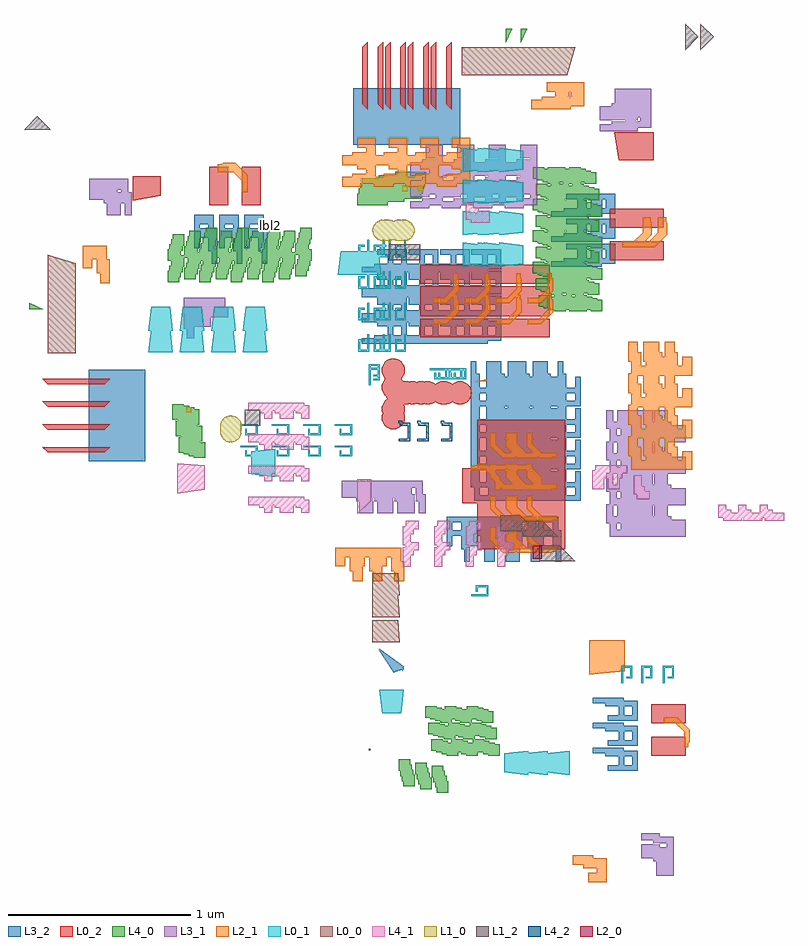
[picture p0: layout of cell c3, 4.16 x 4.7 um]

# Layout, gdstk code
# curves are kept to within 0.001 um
from math import pi, radians
import gdstk
lib = gdstk.Library(unit=1e-6, precision=5e-10)
def R(c, l, rs):  # rectangles x0, y0, x1, y1
    for r in rs: c.add(gdstk.rectangle(r[:2], r[2:], *l))
def A(c, l, x, y, w, h, nx, ny, dx, dy):  # array of equal rectangles
    R(c, l, [(x+i*dx, y+j*dy, x+i*dx+w, y+j*dy+h) for i in range(nx) for j in range(ny)])
def P(c, l, *ps):  # polygons
    for p in ps: c.add(gdstk.Polygon(p, *l))
L0_0 = (0, 0)
L0_1 = (0, 1)
L0_2 = (0, 2)
L1_0 = (1, 0)
L1_2 = (1, 2)
L2_0 = (2, 0)
L2_1 = (2, 1)
L3_1 = (3, 1)
L3_2 = (3, 2)
L4_0 = (4, 0)
L4_1 = (4, 1)
L4_2 = (4, 2)

c_c0 = lib.new_cell('c0')
P(c_c0, L0_1, [(0.693,-0.0655),(0.828,-0.0655),(0.8105,-0.1965),(0.707,-0.1965)])
R(c_c0, L0_2, [(-0.853,-0.427,-0.6625,-0.3245), (-0.853,-0.249,-0.6625,-0.1465)])
R(c_c0, L4_0, [(0.449,-0.6295,0.512,-0.5665), (0.54,-0.6125,0.603,-0.5495), (0.458,-0.6015,0.521,-0.5385), (0.631,-0.5955,0.694,-0.5325), (0.549,-0.5845,0.612,-0.5215), (0.467,-0.5735,0.53,-0.5105), (0.64,-0.5675,0.703,-0.5045), (0.558,-0.5565,0.621,-0.4935), (0.476,-0.5455,0.539,-0.4825), (0.649,-0.5395,0.712,-0.4765), (0.567,-0.5285,0.63,-0.4655), (0.658,-0.5115,0.721,-0.4485)])
c_c0.add(gdstk.FlexPath([(-0.865,-0.3655),(-0.858,-0.3655),(-0.858,-0.2905),(-0.7995,-0.232),(-0.748,-0.232)], 0.03, ends=(0.0015, 0.015), simple_path=True, layer=2, datatype=1))  # L2_1
c_c0.add(gdstk.FlexPath([(-0.6535,0.9985),(-0.6055,0.9985),(-0.6055,1.0265),(-0.5895,1.0265),(-0.5895,1.094)], 0.044, ends=(0.0015, 0.015), simple_path=True, layer=4, datatype=1))  # L4_1
c_c0.add(gdstk.FlexPath([(0.292,0.471),(0.292,0.5005),(0.234,0.5005),(0.234,0.451),(0.3235,0.451)], 0.01, ends="flush", simple_path=True, layer=0, datatype=1))  # L0_1
c_c0.add(gdstk.FlexPath([(-0.2345,-0.999),(-0.318,-0.999),(-0.318,-1.016),(-0.3925,-1.016),(-0.3925,-1.095),(-0.3425,-1.095)], 0.054, ends=(0, 0.025), simple_path=True, layer=2, datatype=1))  # L2_1
c_c0.add(gdstk.FlexPath([(-0.415,-0.4),(-0.4985,-0.4),(-0.4985,-0.417),(-0.573,-0.417),(-0.573,-0.496),(-0.523,-0.496)], 0.03, ends=(0, 0.025), simple_path=True, layer=3, datatype=2))  # L3_2
c_c0.add(gdstk.FlexPath([(-0.3425,-0.4),(-0.426,-0.4),(-0.426,-0.417),(-0.5005,-0.417),(-0.5005,-0.496),(-0.4505,-0.496)], 0.03, ends=(0, 0.025), simple_path=True, layer=3, datatype=2))  # L3_2
c_c0.add(gdstk.FlexPath([(-0.415,-0.263),(-0.4985,-0.263),(-0.4985,-0.28),(-0.573,-0.28),(-0.573,-0.359),(-0.523,-0.359)], 0.03, ends=(0, 0.025), simple_path=True, layer=3, datatype=2))  # L3_2
c_c0.add(gdstk.FlexPath([(-0.3425,-0.263),(-0.426,-0.263),(-0.426,-0.28),(-0.5005,-0.28),(-0.5005,-0.359),(-0.4505,-0.359)], 0.03, ends=(0, 0.025), simple_path=True, layer=3, datatype=2))  # L3_2
c_c0.add(gdstk.FlexPath([(-0.415,-0.126),(-0.4985,-0.126),(-0.4985,-0.143),(-0.573,-0.143),(-0.573,-0.222),(-0.523,-0.222)], 0.03, ends=(0, 0.025), simple_path=True, layer=3, datatype=2))  # L3_2
c_c0.add(gdstk.FlexPath([(-0.3425,-0.126),(-0.426,-0.126),(-0.426,-0.143),(-0.5005,-0.143),(-0.5005,-0.222),(-0.4505,-0.222)], 0.03, ends=(0, 0.025), simple_path=True, layer=3, datatype=2))  # L3_2
c_c0.add(gdstk.FlexPath([(-0.6085,-0.9705),(-0.692,-0.9705),(-0.692,-0.9875),(-0.7665,-0.9875),(-0.7665,-1.0665),(-0.7165,-1.0665)], 0.038, ends=(0, 0.025), simple_path=True, layer=3, datatype=1))  # L3_1
c_c0.add(gdstk.FlexPath([(-0.6085,-0.9325),(-0.692,-0.9325),(-0.692,-0.9495),(-0.7665,-0.9495),(-0.7665,-1.0285),(-0.7165,-1.0285)], 0.038, ends=(0, 0.025), simple_path=True, layer=3, datatype=1))  # L3_1
c_c0.add(gdstk.FlexPath([(-0.6085,-0.8725),(-0.692,-0.8725),(-0.692,-0.8895),(-0.7665,-0.8895),(-0.7665,-0.9685),(-0.7165,-0.9685)], 0.038, ends=(0, 0.025), simple_path=True, layer=3, datatype=1))  # L3_1
c_c0.add(gdstk.Label('lbl1', (0.9165,-0.702), layer=3, texttype=0))
c_c0.add(gdstk.Label('lbl2', (0.88,-0.6965), layer=4, texttype=1))
c_c0.add(gdstk.Label('lbl1', (0.7815,0.7755), layer=2, texttype=0))
c_c0.add(gdstk.Label('lbl1', (0.7815,0.9115), layer=2, texttype=0))
c_c0.add(gdstk.Label('lbl1', (0.7815,0.9545), layer=2, texttype=0))
c_c0.add(gdstk.Label('lbl1', (0.7815,1.0055), layer=2, texttype=0))
c_c0.add(gdstk.Label('lbl1', (0.9675,-0.092), layer=0, texttype=0))
c_c0.add(gdstk.Label('lbl0', (-0.414,0.3275), layer=3, texttype=2))
c_c0.add(gdstk.Label('lbl0', (-0.414,0.5055), layer=3, texttype=2))
c_c0.add(gdstk.Label('lbl2', (-0.401,0.445), layer=0, texttype=2))
c_c0.add(gdstk.Label('lbl2', (-0.401,0.623), layer=0, texttype=2))

c_c1 = lib.new_cell('c1')
P(c_c1, L0_0, [(0.8075,-0.235),(0.8075,-0.082),(0.961,-0.037),(0.961,-0.235)],
  [(0.8075,-0.1215),(0.8075,0.0315),(0.961,0.0765),(0.961,-0.1215)],
  [(0.8075,-0.008),(0.8075,0.145),(0.961,0.19),(0.961,-0.008)],
  [(0.8075,0.1055),(0.8075,0.2585),(0.961,0.3035),(0.961,0.1055)])
P(c_c1, L0_2, [(-0.8675,-0.5885),(-0.8685,-0.576),(-0.8725,-0.564),(-0.886,-0.543),(-0.907,-0.5295),(-0.919,-0.5255),(-0.9315,-0.5245),(-0.944,-0.5255),(-0.956,-0.5295),(-0.977,-0.543),(-0.9905,-0.564),(-0.9945,-0.576),(-0.9955,-0.5885),(-0.9945,-0.601),(-0.9905,-0.613),(-0.977,-0.634),(-0.956,-0.6475),(-0.944,-0.6515),(-0.9315,-0.6525),(-0.919,-0.6515),(-0.907,-0.6475),(-0.886,-0.634),(-0.8725,-0.613),(-0.8685,-0.601)],
  [(-0.8675,-0.541),(-0.8685,-0.5285),(-0.8725,-0.5165),(-0.886,-0.4955),(-0.907,-0.482),(-0.919,-0.478),(-0.9315,-0.477),(-0.944,-0.478),(-0.956,-0.482),(-0.977,-0.4955),(-0.9905,-0.5165),(-0.9945,-0.5285),(-0.9955,-0.541),(-0.9945,-0.5535),(-0.9905,-0.5655),(-0.977,-0.5865),(-0.956,-0.6),(-0.944,-0.604),(-0.9315,-0.605),(-0.919,-0.604),(-0.907,-0.6),(-0.886,-0.5865),(-0.8725,-0.5655),(-0.8685,-0.5535)],
  [(-0.8675,-0.421),(-0.8685,-0.4085),(-0.8725,-0.3965),(-0.886,-0.3755),(-0.907,-0.362),(-0.919,-0.358),(-0.9315,-0.357),(-0.944,-0.358),(-0.956,-0.362),(-0.977,-0.3755),(-0.9905,-0.3965),(-0.9945,-0.4085),(-0.9955,-0.421),(-0.9945,-0.4335),(-0.9905,-0.4455),(-0.977,-0.4665),(-0.956,-0.48),(-0.944,-0.484),(-0.9315,-0.485),(-0.919,-0.484),(-0.907,-0.48),(-0.886,-0.4665),(-0.8725,-0.4455),(-0.8685,-0.4335)],
  [(-0.8675,-0.328),(-0.8685,-0.3155),(-0.8725,-0.3035),(-0.886,-0.2825),(-0.907,-0.269),(-0.919,-0.265),(-0.9315,-0.264),(-0.944,-0.265),(-0.956,-0.269),(-0.977,-0.2825),(-0.9905,-0.3035),(-0.9945,-0.3155),(-0.9955,-0.328),(-0.9945,-0.3405),(-0.9905,-0.3525),(-0.977,-0.3735),(-0.956,-0.387),(-0.944,-0.391),(-0.9315,-0.392),(-0.919,-0.391),(-0.907,-0.387),(-0.886,-0.3735),(-0.8725,-0.3525),(-0.8685,-0.3405)],
  [(0.649,-0.779),(0.6195,-0.7495),(0.8075,-0.7495),(0.778,-0.779)],
  [(0.741,-0.779),(0.7115,-0.7495),(0.8995,-0.7495),(0.87,-0.779)],
  [(0.833,-0.779),(0.8035,-0.7495),(0.9915,-0.7495),(0.962,-0.779)],
  [(0.649,-0.654),(0.6195,-0.6245),(0.8075,-0.6245),(0.778,-0.654)],
  [(0.741,-0.654),(0.7115,-0.6245),(0.8995,-0.6245),(0.87,-0.654)],
  [(0.833,-0.654),(0.8035,-0.6245),(0.9915,-0.6245),(0.962,-0.654)],
  [(0.649,-0.529),(0.6195,-0.4995),(0.8075,-0.4995),(0.778,-0.529)],
  [(0.741,-0.529),(0.7115,-0.4995),(0.8995,-0.4995),(0.87,-0.529)],
  [(0.833,-0.529),(0.8035,-0.4995),(0.9915,-0.4995),(0.962,-0.529)],
  [(0.649,-0.404),(0.6195,-0.3745),(0.8075,-0.3745),(0.778,-0.404)],
  [(0.741,-0.404),(0.7115,-0.3745),(0.8995,-0.3745),(0.87,-0.404)],
  [(0.833,-0.404),(0.8035,-0.3745),(0.9915,-0.3745),(0.962,-0.404)],
  [(0.342,0.6265),(0.342,0.734),(0.4965,0.734),(0.4965,0.6)])
R(c_c1, L1_0, [(0.174,-0.56,0.2025,-0.53)])
P(c_c1, L1_0, [(0.0165,-0.6655),(0.0155,-0.654),(0.012,-0.6435),(-0.0005,-0.6245),(-0.0195,-0.612),(-0.03,-0.6085),(-0.0415,-0.6075),(-0.053,-0.6085),(-0.0635,-0.612),(-0.0825,-0.6245),(-0.095,-0.6435),(-0.0985,-0.654),(-0.0995,-0.6655),(-0.0985,-0.677),(-0.095,-0.6875),(-0.0825,-0.7065),(-0.0635,-0.719),(-0.053,-0.7225),(-0.0415,-0.7235),(-0.03,-0.7225),(-0.0195,-0.719),(-0.0005,-0.7065),(0.012,-0.6875),(0.0155,-0.677)],
  [(0.0165,-0.6505),(0.0155,-0.639),(0.012,-0.6285),(-0.0005,-0.6095),(-0.0195,-0.597),(-0.03,-0.5935),(-0.0415,-0.5925),(-0.053,-0.5935),(-0.0635,-0.597),(-0.0825,-0.6095),(-0.095,-0.6285),(-0.0985,-0.639),(-0.0995,-0.6505),(-0.0985,-0.662),(-0.095,-0.6725),(-0.0825,-0.6915),(-0.0635,-0.704),(-0.053,-0.7075),(-0.0415,-0.7085),(-0.03,-0.7075),(-0.0195,-0.704),(-0.0005,-0.6915),(0.012,-0.6725),(0.0155,-0.662)],
  [(0.0165,-0.6485),(0.0155,-0.637),(0.012,-0.6265),(-0.0005,-0.6075),(-0.0195,-0.595),(-0.03,-0.5915),(-0.0415,-0.5905),(-0.053,-0.5915),(-0.0635,-0.595),(-0.0825,-0.6075),(-0.095,-0.6265),(-0.0985,-0.637),(-0.0995,-0.6485),(-0.0985,-0.66),(-0.095,-0.6705),(-0.0825,-0.6895),(-0.0635,-0.702),(-0.053,-0.7055),(-0.0415,-0.7065),(-0.03,-0.7055),(-0.0195,-0.702),(-0.0005,-0.6895),(0.012,-0.6705),(0.0155,-0.66)],
  [(0.0165,-0.634),(0.0155,-0.6225),(0.012,-0.612),(-0.0005,-0.593),(-0.0195,-0.5805),(-0.03,-0.577),(-0.0415,-0.576),(-0.053,-0.577),(-0.0635,-0.5805),(-0.0825,-0.593),(-0.095,-0.612),(-0.0985,-0.6225),(-0.0995,-0.634),(-0.0985,-0.6455),(-0.095,-0.656),(-0.0825,-0.675),(-0.0635,-0.6875),(-0.053,-0.691),(-0.0415,-0.692),(-0.03,-0.691),(-0.0195,-0.6875),(-0.0005,-0.675),(0.012,-0.656),(0.0155,-0.6455)])
R(c_c1, L1_2, [(-0.204,-0.633,-0.1165,-0.5455)])
P(c_c1, L1_2, [(0.9455,0.9895),(1.0185,1.0625),(1.0915,0.9895)])
A(c_c1, L3_2, 0.4275, -0.8275, 0.1265, 0.1265, 3, 4, 0.092, 0.125)
P(c_c1, L4_0, [(0.9855,0.006),(1.064,0.006),(1.064,0.041)])
r = gdstk.Reference(c_c0, (-0.9345,-0.295), x_reflection=True); r.repetition = gdstk.Repetition(4, 2, v1=(0.1725,0), v2=(0,0.117)); c_c1.add(r)
c_c1.add(gdstk.Reference(c_c0, (-0.351,-0.087), rotation=3*pi/2, x_reflection=True))
c_c1.add(gdstk.Reference(c_c0, (-0.351,-0.0655), rotation=3*pi/2, x_reflection=True))
c_c1.add(gdstk.Label('lbl2', (-0.226,-0.721), layer=2, texttype=1))
c_c1.add(gdstk.Label('lbl2', (-0.226,-0.61), layer=2, texttype=1))
c_c1.add(gdstk.Label('lbl2', (-0.226,-0.517), layer=2, texttype=1))
c_c1.add(gdstk.Label('lbl2', (-0.226,-0.3845), layer=2, texttype=1))
c_c1.add(gdstk.Label('lbl0', (-0.87,0.1105), layer=2, texttype=1))
c_c1.add(gdstk.Label('lbl0', (-0.6215,0.1105), layer=2, texttype=1))
c_c1.add(gdstk.Label('lbl0', (-0.87,0.144), layer=2, texttype=1))
c_c1.add(gdstk.Label('lbl0', (-0.6215,0.144), layer=2, texttype=1))

c_c2 = lib.new_cell('c2')
P(c_c2, L0_0, [(0.0035,-0.219),(0.0035,-0.0775),(0.125,-0.0685),(0.125,-0.219)],
  [(0.124,-0.219),(0.124,-0.0775),(0.2455,-0.0685),(0.2455,-0.219)],
  [(0.261,-0.219),(0.261,-0.0775),(0.3825,-0.0685),(0.3825,-0.219)])
P(c_c2, L1_2, [(0.9755,-0.2335),(0.974,-0.2295),(0.971,-0.228),(0.969,-0.228),(0.966,-0.2295),(0.9645,-0.2325),(0.9645,-0.2345),(0.966,-0.2375),(0.969,-0.239),(0.971,-0.239),(0.974,-0.2375)])
P(c_c2, L2_1, [(0.372,1.164),(0.5415,1.164),(0.56,0.9695),(0.372,0.9695)])
P(c_c2, L3_2, [(0.414,-0.183),(0.5395,-0.1015),(0.525,-0.0725),(0.5255,-0.065),(0.522,-0.0555),(0.5305,-0.0545),(0.517,-0.043)],
  [(0.424,-0.183),(0.5495,-0.1015),(0.535,-0.0725),(0.5355,-0.065),(0.532,-0.0555),(0.5405,-0.0545),(0.527,-0.043)])
P(c_c2, L4_1, [(-0.5105,-0.3),(-0.5105,-0.2255),(-0.3925,-0.2255),(-0.318,-0.3)])
c_c2.add(gdstk.Reference(c_c0, (0.283,0.7)))
c_c2.add(gdstk.Reference(c_c0, (0.283,0.8085)))
c_c2.add(gdstk.Reference(c_c0, (0.283,0.9275)))
c_c2.add(gdstk.Reference(c_c0, (0.576,0.646), rotation=3*pi/2, x_reflection=True))

c_c3 = lib.new_cell('c3')
P(c_c3, L1_2, [(0.813,-0.694),(0.813,-0.606),(0.9225,-0.606),(1.0105,-0.694)],
  [(0.933,-0.723),(0.933,-0.635),(1.0425,-0.635),(1.1305,-0.723)],
  [(1.0265,-0.8575),(1.0265,-0.7695),(1.136,-0.7695),(1.224,-0.8575)])
R(c_c3, L2_0, [(0.9905,-0.843,1.0395,-0.7735)])
P(c_c3, L2_1, [(0.674,0.1295),(0.737,0.1295),(0.737,0.1395)])
P(c_c3, L3_1, [(-0.922,0.4175),(-0.879,0.4175),(-0.879,0.48),(-0.7905,0.48),(-0.7905,0.532),(-0.6945,0.532),(-0.6945,0.585),(-0.922,0.585)],
  [(-0.906,0.3655),(-0.863,0.3655),(-0.863,0.428),(-0.7745,0.428),(-0.7745,0.48),(-0.6785,0.48),(-0.6785,0.533),(-0.906,0.533)])
P(c_c3, L4_1, [(-0.9565,-0.4865),(-0.9565,-0.3205),(-0.8075,-0.332),(-0.8075,-0.466)])
c_c3.add(gdstk.FlexPath([(0.2515,-0.0935),(0.268,-0.0935),(0.268,-0.107),(0.3115,-0.107),(0.3115,-0.194),(0.2915,-0.194)], 0.014, ends=(-0.003, 0.035), simple_path=True, layer=4, datatype=2))  # L4_2
c_c3.add(gdstk.FlexPath([(0.3535,-0.0935),(0.37,-0.0935),(0.37,-0.107),(0.4135,-0.107),(0.4135,-0.194),(0.3935,-0.194)], 0.014, ends=(-0.003, 0.035), simple_path=True, layer=4, datatype=2))  # L4_2
c_c3.add(gdstk.FlexPath([(0.4825,-0.0935),(0.499,-0.0935),(0.499,-0.107),(0.5425,-0.107),(0.5425,-0.194),(0.5225,-0.194)], 0.014, ends=(-0.003, 0.035), simple_path=True, layer=4, datatype=2))  # L4_2
c_c3.add(gdstk.Reference(c_c1, (0.8355,0.9965), rotation=pi/2, x_reflection=True))
c_c3.add(gdstk.Reference(c_c1, (0.9195,0.9965), rotation=pi/2, x_reflection=True))
c_c3.add(gdstk.Reference(c_c1, (-0.7055,0.5175), rotation=pi, x_reflection=True))
c_c3.add(gdstk.Reference(c_c2, (0.33,-0.919), rotation=3*pi/2))
c_c3.add(gdstk.Label('lbl2', (-0.445,0.981), layer=0, texttype=0))

lib.write_gds('c3.gds')
